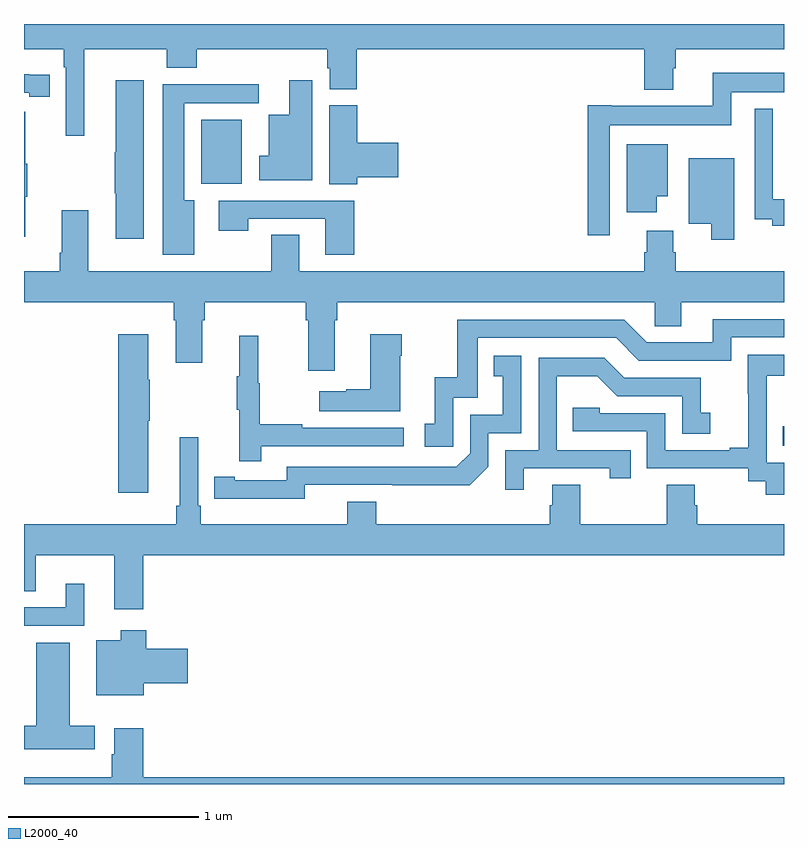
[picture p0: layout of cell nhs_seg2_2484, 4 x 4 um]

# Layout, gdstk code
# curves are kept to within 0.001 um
import gdstk
lib = gdstk.Library(unit=1e-6, precision=1e-09)
def R(c, l, rs):  # rectangles x0, y0, x1, y1
    for r in rs: c.add(gdstk.rectangle(r[:2], r[2:], *l))
def P(c, l, *ps):  # polygons
    for p in ps: c.add(gdstk.Polygon(p, *l))
L2000_40 = (2000, 40)

nhs_seg2_2484 = lib.new_cell('nhs_seg2_2484')
R(nhs_seg2_2484, L2000_40, [(244.993,613.581,245,613.682), (241.934,614.96,242.146,615.295)])
P(nhs_seg2_2484, L2000_40, [(241,615.668),(241.208,615.668),(241.208,615.572),(241.221,615.572),(241.221,615.213),(241.318,615.213),(241.318,615.668),(241.75,615.668),(241.75,615.569),(241.91,615.569),(241.91,615.668),(242.597,615.668),(242.597,615.567),(242.609,615.567),(242.609,615.457),(242.75,615.457),(242.75,615.668),(244.265,615.668),(244.265,615.455),(244.417,615.455),(244.417,615.567),(244.43,615.567),(244.43,615.668),(245,615.668),(245,615.8),(241,615.8)],
  [(244.083,615.266),(244.722,615.266),(244.722,615.44),(245,615.44),(245,615.544),(244.625,615.544),(244.625,615.37),(244.09,615.37),(244.09,615.373),(243.967,615.373),(243.967,614.688),(244.083,614.688)],
  [(241.136,615.534),(241.028,615.534),(241.028,615.535),(241,615.535),(241,615.438),(241.028,615.438),(241.028,615.418),(241.136,615.418)],
  [(242.518,615.505),(242.396,615.505),(242.396,615.322),(242.288,615.322),(242.288,615.106),(242.237,615.106),(242.237,614.978),(242.518,614.978)],
  [(241.63,615.505),(241.484,615.505),(241.484,615.125),(241.477,615.125),(241.477,614.908),(241.484,614.908),(241.484,614.67),(241.63,614.67)],
  [(241.897,614.872),(241.843,614.872),(241.843,615.384),(242.236,615.384),(242.236,615.482),(241.73,615.482),(241.73,614.586),(241.897,614.586)],
  [(242.753,614.993),(242.971,614.993),(242.971,615.176),(242.753,615.176),(242.753,615.372),(242.606,615.372),(242.606,614.956),(242.753,614.956)],
  [(245,614.878),(244.941,614.878),(244.941,615.355),(244.845,615.355),(244.845,614.772),(244.937,614.772),(244.937,614.738),(245,614.738)],
  [(241.007,614.891),(241.018,614.891),(241.018,615.065),(241.007,615.065),(241.007,615.337),(241,615.337),(241,614.679),(241.007,614.679)],
  [(244.33,614.894),(244.387,614.894),(244.387,615.166),(244.172,615.166),(244.172,614.808),(244.33,614.808)],
  [(244.738,615.094),(244.499,615.094),(244.499,614.75),(244.616,614.75),(244.616,614.664),(244.738,614.664)],
  [(242.738,614.871),(242.025,614.871),(242.025,614.712),(242.181,614.712),(242.181,614.775),(242.585,614.775),(242.585,614.586),(242.738,614.586)],
  [(242.635,614.24),(242.648,614.24),(242.648,614.336),(244.32,614.336),(244.32,614.209),(244.459,614.209),(244.459,614.336),(245,614.336),(245,614.5),(244.43,614.5),(244.43,614.598),(244.417,614.598),(244.417,614.713),(244.277,614.713),(244.277,614.598),(244.265,614.598),(244.265,614.5),(242.449,614.5),(242.449,614.69),(242.302,614.69),(242.302,614.5),(241.339,614.5),(241.339,614.821),(241.199,614.821),(241.199,614.596),(241.187,614.596),(241.187,614.5),(241,614.5),(241,614.336),(241.787,614.336),(241.787,614.24),(241.799,614.24),(241.799,614.016),(241.939,614.016),(241.939,614.24),(241.952,614.24),(241.952,614.336),(242.483,614.336),(242.483,614.24),(242.495,614.24),(242.495,613.974),(242.635,613.974)],
  [(243.258,613.833),(243.387,613.833),(243.387,614.148),(244.116,614.148),(244.236,614.028),(244.722,614.028),(244.722,614.151),(245,614.151),(245,614.247),(244.625,614.247),(244.625,614.124),(244.278,614.124),(244.158,614.244),(243.279,614.244),(243.279,613.942),(243.161,613.942),(243.161,613.695),(243.108,613.695),(243.108,613.575),(243.258,613.575)],
  [(242.98,614.054),(242.988,614.054),(242.988,614.167),(242.822,614.167),(242.822,613.877),(242.696,613.877),(242.696,613.867),(242.553,613.867),(242.553,613.763),(242.98,613.763)],
  [(241.654,613.711),(241.662,613.711),(241.662,613.928),(241.654,613.928),(241.654,614.167),(241.496,614.167),(241.496,613.332),(241.654,613.332)],
  [(242.249,613.578),(242.998,613.578),(242.998,613.674),(242.465,613.674),(242.465,613.694),(242.242,613.694),(242.242,613.908),(242.234,613.908),(242.234,614.158),(242.132,614.158),(242.132,613.945),(242.121,613.945),(242.121,613.771),(242.132,613.771),(242.132,613.5),(242.249,613.5)],
  [(245,613.491),(244.908,613.491),(244.908,613.721),(244.91,613.721),(244.91,613.949),(245,613.949),(245,614.059),(244.81,614.059),(244.81,613.853),(244.811,613.853),(244.811,613.57),(244.715,613.57),(244.715,613.557),(244.374,613.557),(244.374,613.752),(244.029,613.752),(244.029,613.779),(243.889,613.779),(243.889,613.656),(244.278,613.656),(244.278,613.461),(244.812,613.461),(244.812,613.393),(244.905,613.393),(244.905,613.323),(245,613.323)],
  [(242.478,613.374),(243.346,613.373),(243.444,613.47),(243.444,613.647),(243.618,613.647),(243.618,614.053),(243.472,614.053),(243.472,613.947),(243.521,613.947),(243.521,613.743),(243.348,613.743),(243.348,613.542),(243.276,613.47),(242.382,613.47),(242.382,613.398),(242.11,613.398),(242.11,613.418),(242.002,613.418),(242.002,613.302),(242.478,613.301)],
  [(243.631,613.461),(244.082,613.461),(244.082,613.41),(244.193,613.41),(244.193,613.557),(243.804,613.557),(243.804,613.946),(244.018,613.946),(244.122,613.842),(244.464,613.842),(244.464,613.644),(244.612,613.644),(244.612,613.753),(244.563,613.753),(244.563,613.938),(244.159,613.938),(244.054,614.043),(243.708,614.043),(243.708,613.557),(243.534,613.557),(243.534,613.35),(243.631,613.35)],
  [(241.628,613.004),(245,613.004),(245,613.168),(244.544,613.168),(244.544,613.266),(244.531,613.266),(244.531,613.376),(244.384,613.376),(244.384,613.168),(243.927,613.168),(243.927,613.376),(243.779,613.376),(243.779,613.266),(243.767,613.266),(243.767,613.168),(242.855,613.168),(242.855,613.285),(242.702,613.285),(242.702,613.168),(241.931,613.168),(241.931,613.264),(241.917,613.264),(241.917,613.624),(241.82,613.624),(241.82,613.264),(241.801,613.264),(241.801,613.168),(241,613.168),(241,612.814),(241.063,612.814),(241.063,613.004),(241.475,613.004),(241.475,612.72),(241.628,612.72)],
  [(241.318,612.853),(241.22,612.853),(241.22,612.729),(241,612.729),(241,612.633),(241.318,612.633)],
  [(241.63,612.329),(241.861,612.329),(241.861,612.512),(241.643,612.512),(241.643,612.61),(241.508,612.61),(241.508,612.556),(241.379,612.556),(241.379,612.266),(241.63,612.266)],
  [(241.372,612.106),(241.24,612.106),(241.24,612.544),(241.064,612.544),(241.064,612.106),(241,612.106),(241,611.984),(241.372,611.984)],
  [(245,611.836),(241.628,611.836),(241.628,612.094),(241.475,612.094),(241.475,611.957),(241.463,611.957),(241.463,611.836),(241,611.836),(241,611.8),(245,611.8)])

lib.write_gds('nhs_seg2_2484.gds')
